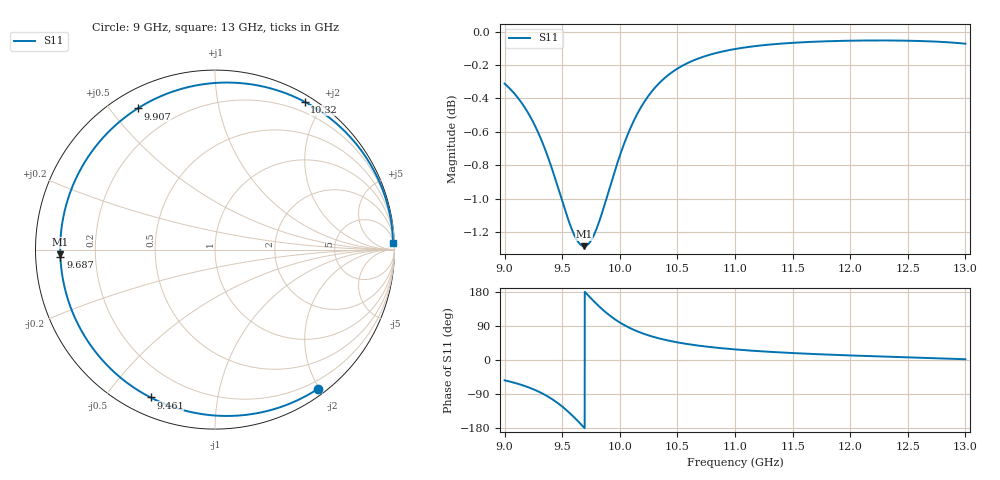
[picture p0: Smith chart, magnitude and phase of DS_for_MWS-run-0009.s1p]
! TOUCHSTONE file generated by CST DESIGN STUDIO
! Date and time: Wed Feb  5 13:39:18 2025
! Project name: C:\Work\MatlabApps\UnitCellOptimizationMatlab\CST\unitcell.cst
! Tree item: Tasks\Sweep1\SPara1\S-Parameters
! Header version: 2024
! Port assignment regex: !\s*Touchstone port\s*([0-9]+)\s*=\s*(CST MWS port|CST DES external port|CST DES block port)\s*(.+)\s* \(\"(.*)\"\)(\s*mode\s*([0-9]+))?.*
! Touchstone port assignment:
! Touchstone port 1 = CST DES external port 1 ("")
# GHz S MA R 50
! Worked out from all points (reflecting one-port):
!   4001 points, 9 GHz to 13 GHz, reference 50 ohm
!   lowest |S11| = -1.3 dB at 9.69 GHz (marker M1), VSWR 13.55, Z = 3.69 - j0.743 ohm
!   phase of S11 starts at -54 deg and turns -304 deg over the sweep
!   S11 on the Smith chart (normalised r, x): 9 GHz: 0.09, -1.98; 9.461 GHz: 0.08, -0.65; 9.687 GHz: 0.07, -0.02; 9.907 GHz: 0.07, +0.59; 10.32 GHz: 0.08, +1.77; 13 GHz: 13, +53
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9  0.9648 -53.6
9.122  0.9547 -63.3
9.239  0.9408 -75.9
9.363  0.9198 -94.1
9.461  0.8987 -113.6
9.5  0.8898 -122.8
9.552  0.8785 -136.4
9.605  0.8691 -151.7
9.647  0.8643 -164.6
9.687  0.8625 -177.3
9.69  0.8625 -178.3
9.735  0.8644 167.4
9.783  0.8703 152.5
9.846  0.8826 134.3
9.907  0.8967 118.7
9.952  0.9073 108.6
10  0.918 99.0
10.069  0.9316 87.2
10.153  0.9451 75.5
10.233  0.955 66.6
10.319  0.9633 58.8
10.5  0.9748 46.6
10.719  0.9827 36.6
11  0.9881 28.0
11.5  0.9923 18.3
12  0.9938 12.0
12.5  0.9938 7.0
13  0.9917 2.0
